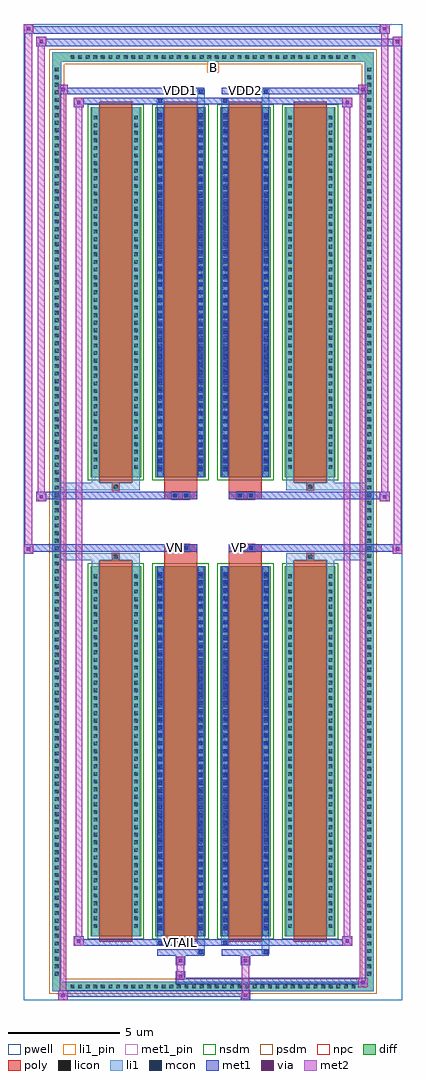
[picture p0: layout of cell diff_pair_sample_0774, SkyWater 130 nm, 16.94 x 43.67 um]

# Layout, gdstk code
import gdstk
lib = gdstk.Library(unit=1e-6, precision=5e-09)
def R(c, l, rs):  # rectangles x0, y0, x1, y1
    for r in rs: c.add(gdstk.rectangle(r[:2], r[2:], *l))
def A(c, l, x, y, w, h, nx, ny, dx, dy):  # array of equal rectangles
    R(c, l, [(x+i*dx, y+j*dy, x+i*dx+w, y+j*dy+h) for i in range(nx) for j in range(ny)])
def P(c, l, *ps):  # polygons
    for p in ps: c.add(gdstk.Polygon(p, *l))
pwell = (64, 44)
diff = (65, 20)
poly = (66, 20)
licon = (66, 44)
li1_pin = (67, 16)
li1 = (67, 20)
mcon = (67, 44)
met1_pin = (68, 16)
met1 = (68, 20)
via = (68, 44)
met2 = (69, 20)
nsdm = (93, 44)
psdm = (94, 20)
npc = (95, 20)

diff_pair_sample_0774 = lib.new_cell('diff_pair_sample_0774')
R(diff_pair_sample_0774, pwell, [(-8.47,-21.4,8.47,22.27), (-5.79,-19.59,-0.01,-0.805), (0.01,-19.59,5.79,-0.805), (-5.79,0.805,-0.01,19.59), (0.01,0.805,5.79,19.59)])
A(diff_pair_sample_0774, diff, -6.495, -21, 0.41, 0.41, 38, 2, 0.34, 41.59)
A(diff_pair_sample_0774, diff, -7.2, -20.435, 0.41, 0.41, 1, 120, 0, 0.34)
A(diff_pair_sample_0774, diff, 6.79, -20.435, 0.41, 0.41, 1, 120, 0, 0.34)
A(diff_pair_sample_0774, diff, -5.48, -18.545, 2.26, 16.56, 4, 2, 2.9, 20.53)
R(diff_pair_sample_0774, diff, [(-6.495,-21,6.495,-20.59), (-7.2,-20.435,-6.79,20.435), (6.79,-20.435,7.2,20.435), (-6.495,20.59,6.495,21)])
P(diff_pair_sample_0774, diff, [(7.2,21),(-7.2,21),(-7.2,-20.59),(-6.79,-20.59),(-6.79,20.59),(6.79,20.59),(6.79,-20.59),(-6.79,-20.59),(-7.2,-20.59),(-7.2,-21),(7.2,-21)])
A(diff_pair_sample_0774, poly, -5.09, -18.795, 1.48, 17.06, 4, 2, 2.9, 20.53)
R(diff_pair_sample_0774, poly, [(-4.515,-1.735,-4.185,-1.405), (-4.515,-1.735,-4.185,-1.405), (-2.19,-1.735,-0.71,-1.335), (0.71,-1.735,2.19,-1.335), (4.185,-1.735,4.515,-1.405), (4.185,-1.735,4.515,-1.405), (-2.19,-1.335,-0.71,-1.005), (-1.865,-1.335,-1.535,-1.005), (-1.365,-1.335,-1.035,-1.005), (0.71,-1.335,2.19,-1.005), (1.035,-1.335,1.365,-1.005), (1.535,-1.335,1.865,-1.005), (-2.19,1.005,-0.71,1.335), (-1.865,1.005,-1.535,1.335), (-1.365,1.005,-1.035,1.335), (0.71,1.005,2.19,1.335), (1.035,1.005,1.365,1.335), (1.535,1.005,1.865,1.335), (-2.19,1.335,-0.71,1.735), (0.71,1.335,2.19,1.735), (-4.515,1.405,-4.185,1.735), (-4.515,1.405,-4.185,1.735), (4.185,1.405,4.515,1.735), (4.185,1.405,4.515,1.735)])
A(diff_pair_sample_0774, licon, -6.375, -20.88, 0.17, 0.17, 38, 2, 0.34, 41.59)
A(diff_pair_sample_0774, licon, -7.08, -20.315, 0.17, 0.17, 1, 120, 0, 0.34)
A(diff_pair_sample_0774, licon, 6.91, -20.315, 0.17, 0.17, 1, 120, 0, 0.34)
A(diff_pair_sample_0774, licon, -5.34, -18.17, 0.17, 0.17, 1, 47, 0, 0.34)
A(diff_pair_sample_0774, licon, -3.53, -18.17, 0.17, 0.17, 1, 47, 0, 0.34)
A(diff_pair_sample_0774, licon, -2.44, -18.17, 0.17, 0.17, 1, 47, 0, 0.34)
A(diff_pair_sample_0774, licon, -0.63, -18.17, 0.17, 0.17, 1, 47, 0, 0.34)
A(diff_pair_sample_0774, licon, 0.46, -18.17, 0.17, 0.17, 1, 47, 0, 0.34)
A(diff_pair_sample_0774, licon, 2.27, -18.17, 0.17, 0.17, 1, 47, 0, 0.34)
A(diff_pair_sample_0774, licon, 3.36, -18.17, 0.17, 0.17, 1, 47, 0, 0.34)
A(diff_pair_sample_0774, licon, 5.17, -18.17, 0.17, 0.17, 1, 47, 0, 0.34)
A(diff_pair_sample_0774, licon, -5.34, 2.36, 0.17, 0.17, 1, 47, 0, 0.34)
A(diff_pair_sample_0774, licon, -3.53, 2.36, 0.17, 0.17, 1, 47, 0, 0.34)
A(diff_pair_sample_0774, licon, -2.44, 2.36, 0.17, 0.17, 1, 47, 0, 0.34)
A(diff_pair_sample_0774, licon, -0.63, 2.36, 0.17, 0.17, 1, 47, 0, 0.34)
A(diff_pair_sample_0774, licon, 0.46, 2.36, 0.17, 0.17, 1, 47, 0, 0.34)
A(diff_pair_sample_0774, licon, 2.27, 2.36, 0.17, 0.17, 1, 47, 0, 0.34)
A(diff_pair_sample_0774, licon, 3.36, 2.36, 0.17, 0.17, 1, 47, 0, 0.34)
A(diff_pair_sample_0774, licon, 5.17, 2.36, 0.17, 0.17, 1, 47, 0, 0.34)
R(diff_pair_sample_0774, licon, [(-4.435,-1.655,-4.265,-1.485), (4.265,-1.655,4.435,-1.485), (-1.785,-1.255,-1.615,-1.085), (-1.285,-1.255,-1.115,-1.085), (1.115,-1.255,1.285,-1.085), (1.615,-1.255,1.785,-1.085), (-1.785,1.085,-1.615,1.255), (-1.285,1.085,-1.115,1.255), (1.115,1.085,1.285,1.255), (1.615,1.085,1.785,1.255), (-4.435,1.485,-4.265,1.655), (4.265,1.485,4.435,1.655)])
R(diff_pair_sample_0774, li1_pin, [(-0.25,20.09,0.25,20.59)])
A(diff_pair_sample_0774, li1, -6.455, -20.96, 0.33, 0.33, 38, 2, 0.34, 41.59)
A(diff_pair_sample_0774, li1, -7.16, -20.395, 0.33, 0.33, 1, 120, 0, 0.34)
A(diff_pair_sample_0774, li1, 6.83, -20.395, 0.33, 0.33, 1, 120, 0, 0.34)
A(diff_pair_sample_0774, li1, -2.44, -18.27, 0.17, 0.17, 1, 45, 0, 0.36)
A(diff_pair_sample_0774, li1, -0.63, -18.27, 0.17, 0.17, 1, 45, 0, 0.36)
A(diff_pair_sample_0774, li1, 0.46, -18.27, 0.17, 0.17, 1, 45, 0, 0.36)
A(diff_pair_sample_0774, li1, 2.27, -18.27, 0.17, 0.17, 1, 45, 0, 0.36)
A(diff_pair_sample_0774, li1, -5.42, -18.25, 0.33, 0.33, 1, 47, 0, 0.34)
A(diff_pair_sample_0774, li1, -3.61, -18.25, 0.33, 0.33, 1, 47, 0, 0.34)
A(diff_pair_sample_0774, li1, -2.52, -18.25, 0.33, 0.33, 1, 47, 0, 0.34)
A(diff_pair_sample_0774, li1, -0.71, -18.25, 0.33, 0.33, 1, 47, 0, 0.34)
A(diff_pair_sample_0774, li1, 0.38, -18.25, 0.33, 0.33, 1, 47, 0, 0.34)
A(diff_pair_sample_0774, li1, 2.19, -18.25, 0.33, 0.33, 1, 47, 0, 0.34)
A(diff_pair_sample_0774, li1, 3.28, -18.25, 0.33, 0.33, 1, 47, 0, 0.34)
A(diff_pair_sample_0774, li1, 5.09, -18.25, 0.33, 0.33, 1, 47, 0, 0.34)
A(diff_pair_sample_0774, li1, -2.44, 2.26, 0.17, 0.17, 1, 45, 0, 0.36)
A(diff_pair_sample_0774, li1, -0.63, 2.26, 0.17, 0.17, 1, 45, 0, 0.36)
A(diff_pair_sample_0774, li1, 0.46, 2.26, 0.17, 0.17, 1, 45, 0, 0.36)
A(diff_pair_sample_0774, li1, 2.27, 2.26, 0.17, 0.17, 1, 45, 0, 0.36)
A(diff_pair_sample_0774, li1, -5.42, 2.28, 0.33, 0.33, 1, 47, 0, 0.34)
A(diff_pair_sample_0774, li1, -3.61, 2.28, 0.33, 0.33, 1, 47, 0, 0.34)
A(diff_pair_sample_0774, li1, -2.52, 2.28, 0.33, 0.33, 1, 47, 0, 0.34)
A(diff_pair_sample_0774, li1, -0.71, 2.28, 0.33, 0.33, 1, 47, 0, 0.34)
A(diff_pair_sample_0774, li1, 0.38, 2.28, 0.33, 0.33, 1, 47, 0, 0.34)
A(diff_pair_sample_0774, li1, 2.19, 2.28, 0.33, 0.33, 1, 47, 0, 0.34)
A(diff_pair_sample_0774, li1, 3.28, 2.28, 0.33, 0.33, 1, 47, 0, 0.34)
A(diff_pair_sample_0774, li1, 5.09, 2.28, 0.33, 0.33, 1, 47, 0, 0.34)
R(diff_pair_sample_0774, li1, [(-7.2,-21,-6.79,-20.59), (-7.2,-21,-6.79,-20.59), (-6.79,-21,6.79,-20.59), (6.79,-21,7.2,-20.59), (6.79,-21,7.2,-20.59), (-7.2,-20.59,-6.79,20.59), (6.79,-20.59,7.2,20.59), (-0.71,-19.35,-0.38,-18.545), (-0.63,-19.35,-0.46,-19.18), (2.19,-19.35,2.52,-18.545), (2.27,-19.35,2.44,-19.18), (-2.52,-18.92,-2.19,-18.545), (-2.44,-18.92,-2.27,-18.75), (0.38,-18.92,0.71,-18.545), (0.46,-18.92,0.63,-18.75), (-5.42,-18.545,-5.09,-1.985), (-3.61,-18.545,-3.28,-1.985), (-2.52,-18.545,-2.19,-1.985), (-0.71,-18.545,-0.38,-1.985), (0.38,-18.545,0.71,-1.985), (2.19,-18.545,2.52,-1.985), (3.28,-18.545,3.61,-1.985), (5.09,-18.545,5.42,-1.985), (-2.44,-18.27,-2.27,-2.26), (-0.63,-18.27,-0.46,-2.26), (0.46,-18.27,0.63,-2.26), (2.27,-18.27,2.44,-2.26), (-5.42,-1.985,-5.09,-1.405), (-3.61,-1.985,-3.28,-1.405), (3.28,-1.985,3.61,-1.405), (5.09,-1.985,5.42,-1.405), (-7.2,-1.735,-4.515,-1.405), (-5.42,-1.735,-4.515,-1.405), (-4.515,-1.735,-4.185,-1.405), (-4.185,-1.735,-3.28,-1.405), (3.28,-1.735,4.185,-1.405), (4.185,-1.735,4.515,-1.405), (4.185,-1.735,7.2,-1.405), (4.515,-1.735,5.42,-1.405), (-1.865,-1.335,-1.535,-1.005), (-1.365,-1.335,-1.035,-1.005), (1.035,-1.335,1.365,-1.005), (1.535,-1.335,1.865,-1.005), (-1.865,1.005,-1.535,1.335), (-1.365,1.005,-1.035,1.335), (1.035,1.005,1.365,1.335), (1.535,1.005,1.865,1.335), (-7.2,1.405,-4.515,1.735), (-5.42,1.405,-4.515,1.735), (-5.42,1.405,-5.09,1.985), (-4.515,1.405,-4.185,1.735), (-4.185,1.405,-3.28,1.735), (-3.61,1.405,-3.28,1.985), (3.28,1.405,4.185,1.735), (3.28,1.405,3.61,1.985), (4.185,1.405,4.515,1.735), (4.185,1.405,7.2,1.735), (4.515,1.405,5.42,1.735), (5.09,1.405,5.42,1.985), (-5.42,1.985,-5.09,18.545), (-3.61,1.985,-3.28,18.545), (-2.52,1.985,-2.19,18.545), (-0.71,1.985,-0.38,18.545), (0.38,1.985,0.71,18.545), (2.19,1.985,2.52,18.545), (3.28,1.985,3.61,18.545), (5.09,1.985,5.42,18.545), (-2.44,2.26,-2.27,18.27), (-0.63,2.26,-0.46,18.27), (0.46,2.26,0.63,18.27), (2.27,2.26,2.44,18.27), (-2.52,18.545,-2.19,18.92), (-0.71,18.545,-0.38,19.35), (0.38,18.545,0.71,18.92), (2.19,18.545,2.52,19.35), (-2.44,18.75,-2.27,18.92), (0.46,18.75,0.63,18.92), (-0.63,19.18,-0.46,19.35), (2.27,19.18,2.44,19.35), (-7.2,20.59,-6.79,21), (-7.2,20.59,-6.79,21), (-6.79,20.59,6.79,21), (6.79,20.59,7.2,21), (6.79,20.59,7.2,21)])
A(diff_pair_sample_0774, mcon, -2.44, -18.27, 0.17, 0.17, 1, 45, 0, 0.36)
A(diff_pair_sample_0774, mcon, -0.63, -18.27, 0.17, 0.17, 1, 45, 0, 0.36)
A(diff_pair_sample_0774, mcon, 0.46, -18.27, 0.17, 0.17, 1, 45, 0, 0.36)
A(diff_pair_sample_0774, mcon, 2.27, -18.27, 0.17, 0.17, 1, 45, 0, 0.36)
A(diff_pair_sample_0774, mcon, -2.44, 2.26, 0.17, 0.17, 1, 45, 0, 0.36)
A(diff_pair_sample_0774, mcon, -0.63, 2.26, 0.17, 0.17, 1, 45, 0, 0.36)
A(diff_pair_sample_0774, mcon, 0.46, 2.26, 0.17, 0.17, 1, 45, 0, 0.36)
A(diff_pair_sample_0774, mcon, 2.27, 2.26, 0.17, 0.17, 1, 45, 0, 0.36)
R(diff_pair_sample_0774, mcon, [(-0.63,-19.35,-0.46,-19.18), (2.27,-19.35,2.44,-19.18), (-2.44,-18.92,-2.27,-18.75), (0.46,-18.92,0.63,-18.75), (-1.785,-1.255,-1.615,-1.085), (-1.285,-1.255,-1.115,-1.085), (1.115,-1.255,1.285,-1.085), (1.615,-1.255,1.785,-1.085), (-1.785,1.085,-1.615,1.255), (-1.285,1.085,-1.115,1.255), (1.115,1.085,1.285,1.255), (1.615,1.085,1.785,1.255), (-2.44,18.75,-2.27,18.92), (0.46,18.75,0.63,18.92), (-0.63,19.18,-0.46,19.35), (2.27,19.18,2.44,19.35)])
R(diff_pair_sample_0774, met1_pin, [(-1.585,-18.96,-1.315,-18.69), (-1.835,-1.295,-1.565,-1.025), (1.065,-1.295,1.335,-1.025), (-1.585,19.14,-1.315,19.41), (1.315,19.14,1.585,19.41)])
A(diff_pair_sample_0774, met1, -2.5, -18.33, 0.29, 0.29, 1, 45, 0, 0.36)
A(diff_pair_sample_0774, met1, -0.69, -18.33, 0.29, 0.29, 1, 45, 0, 0.36)
A(diff_pair_sample_0774, met1, 0.4, -18.33, 0.29, 0.29, 1, 45, 0, 0.36)
A(diff_pair_sample_0774, met1, 2.21, -18.33, 0.29, 0.29, 1, 45, 0, 0.36)
A(diff_pair_sample_0774, met1, -2.5, 2.2, 0.29, 0.29, 1, 45, 0, 0.36)
A(diff_pair_sample_0774, met1, -0.69, 2.2, 0.29, 0.29, 1, 45, 0, 0.36)
A(diff_pair_sample_0774, met1, 0.4, 2.2, 0.29, 0.29, 1, 45, 0, 0.36)
A(diff_pair_sample_0774, met1, 2.21, 2.2, 0.29, 0.29, 1, 45, 0, 0.36)
R(diff_pair_sample_0774, met1, [(-6.93,-21.4,-6.5,-20.97), (1.235,-21.4,1.665,-20.97), (-6.93,-21.26,1.665,-20.97), (6.5,-20.83,6.93,-20.4), (-1.665,-20.69,6.93,-20.4), (-1.665,-20.55,-1.235,-20.12), (-1.665,-19.84,-1.235,-19.41), (1.235,-19.84,1.665,-19.41), (-2.5,-19.41,-0.4,-19.12), (-0.69,-19.41,-0.4,-19.12), (0.4,-19.41,2.5,-19.12), (2.21,-19.41,2.5,-19.12), (-6.22,-18.98,-5.79,-18.55), (-6.22,-18.98,-2.5,-18.69), (-2.5,-18.98,-2.21,-18.69), (-2.5,-18.98,-0.4,-18.69), (-0.4,-18.98,0.4,-18.69), (0.4,-18.98,0.69,-18.69), (0.4,-18.98,2.5,-18.69), (2.5,-18.98,6.22,-18.69), (5.79,-18.98,6.22,-18.55), (-2.5,-18.545,-2.21,-1.985), (-0.69,-18.545,-0.4,-1.985), (0.4,-18.545,0.69,-1.985), (2.21,-18.545,2.5,-1.985), (-8.47,-1.435,-8.04,-1.005), (8.04,-1.435,8.47,-1.005), (-8.47,-1.335,-0.71,-1.005), (-2.19,-1.335,-0.71,-1.005), (0.71,-1.335,2.19,-1.005), (0.71,-1.335,8.47,-1.005), (-1.845,-1.315,-1.555,-1.025), (-1.345,-1.315,-1.055,-1.025), (1.055,-1.315,1.345,-1.025), (1.555,-1.315,1.845,-1.025), (-7.9,0.905,-7.47,1.335), (7.47,0.905,7.9,1.335), (-7.9,1.005,-2.19,1.335), (-2.19,1.005,-0.71,1.335), (0.71,1.005,2.19,1.335), (2.19,1.005,7.9,1.335), (-1.845,1.025,-1.555,1.315), (-1.345,1.025,-1.055,1.315), (1.055,1.025,1.345,1.315), (1.555,1.025,1.845,1.315), (-2.5,1.985,-2.21,18.545), (-0.69,1.985,-0.4,18.545), (0.4,1.985,0.69,18.545), (2.21,1.985,2.5,18.545), (-6.22,18.55,-5.79,18.98), (5.79,18.55,6.22,18.98), (-6.22,18.69,-2.5,18.98), (-2.5,18.69,-2.21,18.98), (-2.5,18.69,-0.4,18.98), (-0.4,18.69,0.4,18.98), (0.4,18.69,0.69,18.98), (0.4,18.69,2.5,18.98), (2.5,18.69,6.22,18.98), (-6.93,19.12,-6.5,19.55), (-6.93,19.12,-2.5,19.41), (-2.5,19.12,-0.4,19.41), (-0.69,19.12,-0.4,19.41), (0.4,19.12,2.5,19.41), (2.21,19.12,2.5,19.41), (2.5,19.12,6.93,19.41), (6.5,19.12,6.93,19.55), (-7.9,21.27,-7.47,21.7), (-7.9,21.27,-5.79,21.6), (-5.79,21.27,5.79,21.6), (5.79,21.27,8.47,21.6), (8.04,21.27,8.47,21.7), (-8.47,21.84,-8.04,22.27), (-8.47,21.84,-5.79,22.17), (-5.79,21.84,5.79,22.17), (5.79,21.84,7.9,22.17), (7.47,21.84,7.9,22.27)])
R(diff_pair_sample_0774, via, [(-6.79,-21.26,-6.64,-21.11), (1.375,-21.26,1.525,-21.11), (6.64,-20.69,6.79,-20.54), (-1.525,-20.41,-1.375,-20.26), (-1.525,-19.7,-1.375,-19.55), (1.375,-19.7,1.525,-19.55), (-6.08,-18.84,-5.93,-18.69), (5.93,-18.84,6.08,-18.69), (-8.33,-1.295,-8.18,-1.145), (8.18,-1.295,8.33,-1.145), (-7.76,1.045,-7.61,1.195), (7.61,1.045,7.76,1.195), (-6.08,18.69,-5.93,18.84), (5.93,18.69,6.08,18.84), (-6.79,19.26,-6.64,19.41), (6.64,19.26,6.79,19.41), (-7.76,21.41,-7.61,21.56), (8.18,21.41,8.33,21.56), (-8.33,21.98,-8.18,22.13), (7.61,21.98,7.76,22.13)])
R(diff_pair_sample_0774, met2, [(-6.93,-21.4,-6.5,-20.97), (-6.86,-21.4,-6.57,19.55), (-6.57,-21.4,-6.5,-20.97), (-6.88,-21.35,-6.55,-21.02), (1.285,-21.35,1.615,-21.02), (1.285,-21.02,1.615,-19.79), (6.5,-20.83,6.93,-20.4), (6.57,-20.83,6.86,19.55), (6.86,-20.83,6.93,-20.4), (6.55,-20.78,6.88,-20.45), (-1.615,-20.5,-1.285,-20.17), (-1.615,-20.17,-1.285,-19.79), (-1.615,-19.79,-1.285,-19.46), (1.285,-19.79,1.615,-19.46), (-6.22,-18.98,-5.79,-18.55), (-6.15,-18.98,-5.86,18.98), (-5.86,-18.98,-5.79,-18.55), (5.79,-18.98,6.22,-18.55), (5.86,-18.98,6.15,18.98), (6.15,-18.98,6.22,-18.55), (-6.17,-18.93,-5.84,-18.6), (5.84,-18.93,6.17,-18.6), (-8.47,-1.435,-8.04,-1.005), (-8.42,-1.435,-8.09,22.27), (-8.09,-1.435,-8.04,-1.005), (8.04,-1.435,8.47,-1.005), (8.09,-1.435,8.42,21.7), (8.42,-1.435,8.47,-1.005), (-8.42,-1.385,-8.09,-1.055), (8.09,-1.385,8.42,-1.055), (-7.9,0.905,-7.47,1.335), (-7.85,0.905,-7.52,21.7), (-7.52,0.905,-7.47,1.335), (7.47,0.905,7.9,1.335), (7.52,0.905,7.85,22.27), (7.85,0.905,7.9,1.335), (-7.85,0.955,-7.52,1.285), (7.52,0.955,7.85,1.285), (-6.22,18.55,-5.79,18.98), (-5.86,18.55,-5.79,18.98), (5.79,18.55,6.22,18.98), (6.15,18.55,6.22,18.98), (-6.17,18.6,-5.84,18.93), (5.84,18.6,6.17,18.93), (-6.93,19.12,-6.5,19.55), (-6.57,19.12,-6.5,19.55), (6.5,19.12,6.93,19.55), (6.86,19.12,6.93,19.55), (-6.88,19.17,-6.55,19.5), (6.55,19.17,6.88,19.5), (-7.9,21.27,-7.47,21.7), (-7.52,21.27,-7.47,21.7), (8.04,21.27,8.47,21.7), (8.42,21.27,8.47,21.7), (-7.85,21.32,-7.52,21.65), (8.09,21.32,8.42,21.65), (-8.47,21.84,-8.04,22.27), (-8.09,21.84,-8.04,22.27), (7.47,21.84,7.9,22.27), (7.85,21.84,7.9,22.27), (-8.42,21.89,-8.09,22.22), (7.52,21.89,7.85,22.22)])
A(diff_pair_sample_0774, nsdm, -5.61, -18.675, 2.52, 16.82, 4, 2, 2.9, 20.53)
P(diff_pair_sample_0774, psdm, [(7.33,21.13),(-7.33,21.13),(-7.33,-20.46),(-6.66,-20.46),(-6.66,20.46),(6.66,20.46),(6.66,-20.46),(-6.66,-20.46),(-7.33,-20.46),(-7.33,-21.13),(7.33,-21.13)])
R(diff_pair_sample_0774, npc, [(-4.535,-1.755,-4.165,-1.385), (4.165,-1.755,4.535,-1.385), (-1.885,-1.355,-1.515,-0.985), (-1.885,-1.355,-1.015,-0.985), (-1.885,-1.355,-1.015,-0.985), (-1.385,-1.355,-1.015,-0.985), (1.015,-1.355,1.385,-0.985), (1.015,-1.355,1.885,-0.985), (1.015,-1.355,1.885,-0.985), (1.515,-1.355,1.885,-0.985), (-1.885,0.985,-1.515,1.355), (-1.885,0.985,-1.015,1.355), (-1.885,0.985,-1.015,1.355), (-1.385,0.985,-1.015,1.355), (1.015,0.985,1.385,1.355), (1.015,0.985,1.885,1.355), (1.015,0.985,1.885,1.355), (1.515,0.985,1.885,1.355), (-4.535,1.385,-4.165,1.755), (4.165,1.385,4.535,1.755)])
diff_pair_sample_0774.add(gdstk.Label('VTAIL', (-1.45,-18.825), layer=68, texttype=5))
diff_pair_sample_0774.add(gdstk.Label('VN', (-1.7,-1.16), layer=68, texttype=5))
diff_pair_sample_0774.add(gdstk.Label('VP', (1.2,-1.16), layer=68, texttype=5))
diff_pair_sample_0774.add(gdstk.Label('B', (0,20.34), layer=67, texttype=5))
diff_pair_sample_0774.add(gdstk.Label('VDD2', (1.45,19.275), layer=68, texttype=5))
diff_pair_sample_0774.add(gdstk.Label('VDD1', (-1.45,19.275), layer=68, texttype=5))

lib.write_gds('diff_pair_sample_0774.gds')
